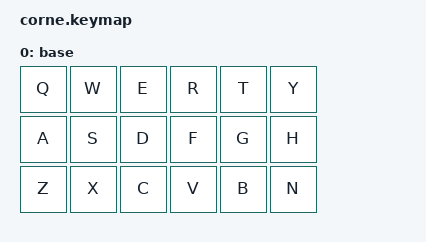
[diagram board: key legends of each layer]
#include <behaviors.dtsi>
#include <dt-bindings/zmk/keys.h>

/ {
    keymap {
        compatible = "zmk,keymap";

        base {
            bindings = <
                /* row 0 */
                &kp Q &kp W &kp E &kp R &kp T &kp Y

                /* row 1 */
                &kp A &kp S &kp D &kp F &kp G &kp H

                /* row 2 */
                &kp Z &kp X &kp C &kp V &kp B &kp N
            >;
        };
    };
};
